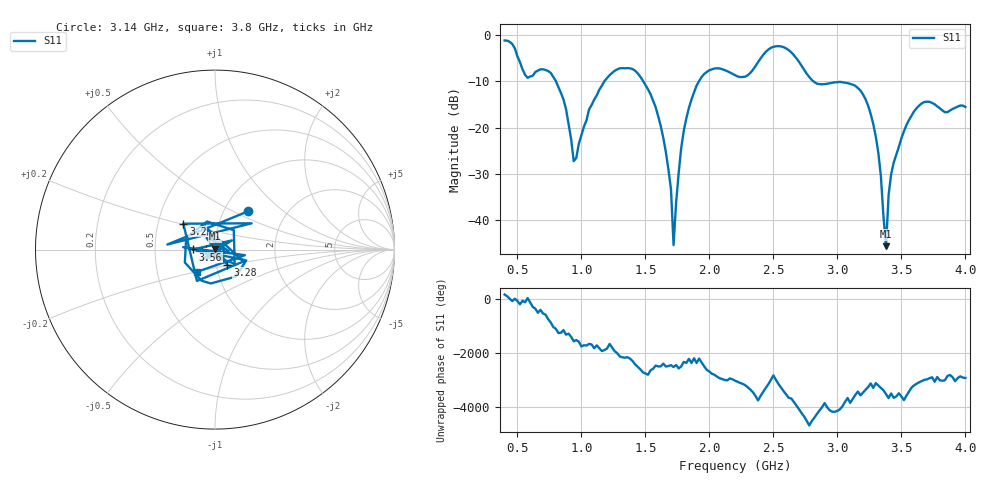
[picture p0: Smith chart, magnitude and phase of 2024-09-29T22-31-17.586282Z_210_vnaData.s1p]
!Created with skrf (http://scikit-rf.org).
# Hz S RI R 50.0
!freq ReS11 ImS11
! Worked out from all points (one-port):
!   181 points, 400 MHz to 4 GHz, reference 50 ohm
!   lowest |S11| = -45.6 dB at 3.38 GHz (marker M1), VSWR 1.01, Z = 50.1 + j0.519 ohm
!   |S11| at or under -10 dB: 801 MHz to 1.179 GHz (378.4 MHz wide, 38.2 % of centre); 1.483 GHz to 1.919 GHz (436 MHz wide, 25.6 % of centre); 2.812 GHz to end of sweep
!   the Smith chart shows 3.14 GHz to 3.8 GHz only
!   S11 on the Smith chart (normalised r, x): 3.14 GHz: 1.29, +0.60; 3.2 GHz: 0.68, +0.21; 3.28 GHz: 1.13, -0.19; 3.56 GHz: 0.78, +0.00; 3.8 GHz: 0.79, -0.20
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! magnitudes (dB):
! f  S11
! 400 MHz  -1.2
! 860 MHz  -14.0
! 940 MHz  -27.3
! 1.06 GHz  -16.1
! 1.3 GHz  -7.2
! 1.44 GHz  -8.3
! 1.58 GHz  -15.6
! 1.68 GHz  -29.1
! 1.7 GHz  -33.4
! 1.72 GHz  -45.4
! 1.76 GHz  -29.8
! 1.82 GHz  -18.0
! 1.92 GHz  -9.9
! 2.2 GHz  -8.7
! 2.5 GHz  -2.6
! 2.66 GHz  -4.4
! 2.84 GHz  -10.5
! 3.1 GHz  -10.6
! 3.14 GHz  -11.0
! 3.2 GHz  -12.9
! 3.28 GHz  -19.2
! 3.34 GHz  -30.6
! 3.38 GHz  -45.6
! 3.4 GHz  -34.6
! 3.42 GHz  -30.0
! 3.56 GHz  -18.3
! 3.8 GHz  -15.8
! 4 GHz  -15.6
